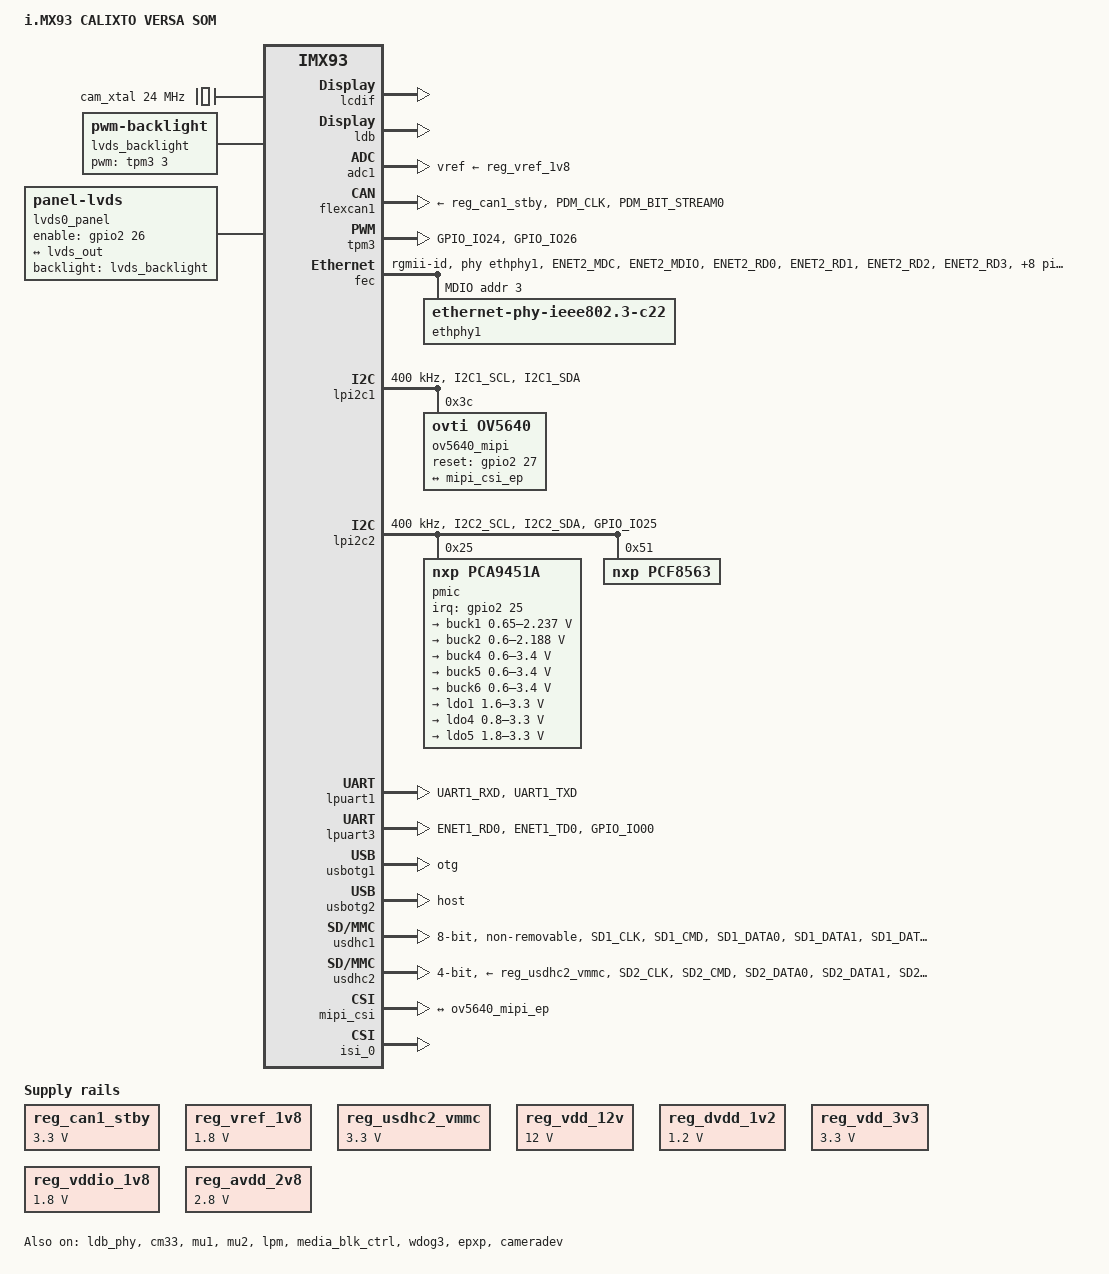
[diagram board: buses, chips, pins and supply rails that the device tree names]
// SPDX-License-Identifier: (GPL-2.0+ OR MIT)
/*
 * Copyright 2025 Calixto Systems
 */

/dts-v1/;

#include <dt-bindings/usb/pd.h>
#include "imx93.dtsi"

&ele_fw2 {
	memory-region = <&ele_reserved>;
};

/ {
	model = "i.MX93 CALIXTO VERSA SOM";
	compatible = "calixto,imx93-calixto-versa_1GB_NPU", "fsl,imx93";

	chosen {
		stdout-path = &lpuart1;
	};

	reserved-memory {
		#address-cells = <2>;
		#size-cells = <2>;
		ranges;

		linux,cma {
			compatible = "shared-dma-pool";
			reusable;
			alloc-ranges = <0 0x80000000 0 0x20000000>;
			size = <0 0x08000000>;
			linux,cma-default;
		};

		ethosu_mem: ethosu_region@A0000000 {
			compatible = "shared-dma-pool";
			reusable;
			reg = <0x0 0xA0000000 0x0 0x08000000>;
		};
  
		vdev0vring0: vdev0vring0@92000000 {
			reg = <0 0x92000000 0 0x4000>;
			no-map;
		};

		vdev0vring1: vdev0vring1@92004000 {
			reg = <0 0x92004000 0 0x4000>;
			no-map;
		};

		vdev1vring0: vdev1vring0@92008000 {
			reg = <0 0x92008000 0 0x4000>;
			no-map;
		};

		vdev1vring1: vdev1vring1@9200C000 {
			reg = <0 0x9200C000 0 0x4000>;
			no-map;
		};

		rsc_table: rsc-table@2021e000 {
			reg = <0 0x2021e000 0 0x1000>;
			no-map;
		};

		vdevbuffer: vdevbuffer@92010000 {
			compatible = "shared-dma-pool";
			reg = <0 0x92010000 0 0x80000>;
			no-map;
		};

		ele_reserved: ele-reserved@92090000 {
			compatible = "shared-dma-pool";
			reg = <0 0x92090000  0 0x80000>;
			no-map;
		};
	};

	ethosu {
		compatible = "arm,ethosu";
		fsl,cm33-proc = <&cm33>;
		memory-region = <&ethosu_mem>;
		power-domains = <&mlmix>;
	};

	reg_can1_stby: regulator-can1-stby {
		compatible = "regulator-fixed";
		regulator-name = "can1-stby";
		regulator-min-microvolt = <3300000>;
		regulator-max-microvolt = <3300000>;
	};

	reg_vref_1v8: regulator-adc-vref {
		compatible = "regulator-fixed";
		regulator-name = "vref_1v8";
		regulator-min-microvolt = <1800000>;
		regulator-max-microvolt = <1800000>;
	};

	reg_usdhc2_vmmc: regulator-usdhc2 {
		compatible = "regulator-fixed";
		regulator-name = "VSD_3V3";
		regulator-min-microvolt = <3300000>;
		regulator-max-microvolt = <3300000>;
	};

	reg_vdd_12v: regulator-vdd-12v {
		compatible = "regulator-fixed";
		regulator-name = "reg_vdd_12v";
		regulator-min-microvolt = <12000000>;
		regulator-max-microvolt = <12000000>;
		regulator-always-on;
	};

	reg_dvdd_1v2: regulator-dvdd {
		compatible = "regulator-fixed";
		regulator-name = "DVDD_1V2";
		regulator-min-microvolt = <1200000>;
		regulator-max-microvolt = <1200000>;
		regulator-always-on;

	};

	reg_vdd_3v3: regulator-vdd {
		compatible = "regulator-fixed";
		regulator-name = "VDD_3V3";
		regulator-min-microvolt = <3300000>;
		regulator-max-microvolt = <3300000>;
		regulator-always-on;
	};

	reg_vddio_1v8: regulator-vddo {
		compatible = "regulator-fixed";
		regulator-name = "VDDIO_1V8";
		regulator-min-microvolt = <1800000>;
		regulator-max-microvolt = <1800000>;
		regulator-always-on;
	};

	reg_avdd_2v8: regulator-avdd {
		compatible = "regulator-fixed";
		regulator-name = "AVDD_2V8";
		regulator-min-microvolt = <2800000>;
		regulator-max-microvolt = <2800000>;
		regulator-always-on;
	};
	
	/* It's a 25MHz crystal oscillator on OV5640 camera board */
	cam_xtal: cam-xtal {
		compatible = "fixed-clock";
		#clock-cells = <0>;
		clock-frequency = <24000000>;
		clock-output-names = "cam_xtal";
	};
	
	
	lvds_backlight: lvds_backlight {
		compatible = "pwm-backlight";
		pwms = <&tpm3 3 50000 0>;
		brightness-levels = <0 0 1 2 3 4 5 6 7 8 9 10 11 12 13 14 15 16 17 18 19 20 21 22 23 24 25 26 27 28 29 30 31 32 33 34 35
					36 37 38 39 40 41 42 43 44 45 46 47 48 49 50 51 52 53 54 55 56 57 58 59 60 61 62 63 64 65 66 67
					68 69 70 71 72 73 74 75 76 77 78 79 80 81 82 83 84 85 86 87 88 89 90 91 92 93 94 95 96 97 98>;
		default-brightness-level = <98>;
		status = "okay";
	};

	lvds0_panel {
		status = "okay";
		backlight = <&lvds_backlight>;
		compatible = "panel-lvds"; 
		data-mapping = "vesa-24";
		enable-gpios = <&gpio2 26 GPIO_ACTIVE_HIGH>;
		width-mm = <124>;
		height-mm = <80>;

		panel-timing {
			clock-frequency = <25000000>;
			hactive = <800>;
			vactive = <480>;
			hfront-porch = <8>;
			hback-porch = <8>;
			hsync-len = <4>;
			vback-porch = <8>;
			vfront-porch = <8>;
			vsync-len = <4>;
			hsync-active = <0>;
			vsync-active = <0>;
			de-active = <1>;
                	pixelclk-active = <0>;
		};

		port {
			panel_lvds_in: endpoint {
				remote-endpoint = <&lvds_out>;
			};
		};
	};	
}; 


&dphy {
	status = "disabled";
};

&dsi {
	status = "disabled";
};

&lcdif {
	assigned-clock-rates = <498000000>, <71142857>, <400000000>, <133333333>;
	status = "okay";
};

&ldb {
	status = "okay";

	lvds-channel@0 {
		#address-cells = <1>;
		#size-cells = <0>;
		fsl,data-mapping = "spwg";
		fsl,data-width = <24>;
		status = "okay";

		port@1 {
			reg = <1>;

			lvds_out: endpoint {
				remote-endpoint = <&panel_lvds_in>;
			};
		};
	};
};

&ldb_phy {
	status = "okay";
};
	
&adc1 {
	vref-supply = <&reg_vref_1v8>;
	status = "okay";
};

&cm33 {
	mbox-names = "tx", "rx", "rxdb";
	mboxes = <&mu1 0 1>,
		 <&mu1 1 1>,
		 <&mu1 3 1>;
	memory-region = <&vdevbuffer>, <&vdev0vring0>, <&vdev0vring1>,
			<&vdev1vring0>, <&vdev1vring1>, <&rsc_table>;
	fsl,startup-delay-ms = <500>;
	status = "okay";
};

&flexcan1 {
	pinctrl-names = "default", "sleep";
	pinctrl-0 = <&pinctrl_flexcan1>;
	pinctrl-1 = <&pinctrl_flexcan1_sleep>;
	xceiver-supply = <&reg_can1_stby>;
	status = "okay";
};

&mu1 {
	status = "okay";
};

&mu2 {
	status = "okay";
};

&eqos {
     status = "disabled";
};

&tpm3 {
      pinctrl-names = "default";
      pinctrl-0 = <&pinctrl_tpm3>;
      status = "okay";

};

&fec {
	pinctrl-names = "default", "sleep";
	pinctrl-0 = <&pinctrl_fec>;
	pinctrl-1 = <&pinctrl_fec_sleep>;
	phy-mode = "rgmii-id";
	phy-handle = <&ethphy1>;
	fsl,magic-packet;
	no-reset-control;
	status = "okay";

	mdio {
		#address-cells = <1>;
		#size-cells = <0>;
		clock-frequency = <5000000>;

		ethphy1: ethernet-phy@3 {
		        compatible = "ethernet-phy-ieee802.3-c22";
			reg = <3>;
		};
	};
};

/*&lcdif {
	status = "okay";
	assigned-clock-rates = <445333333>, <148444444>, <400000000>, <133333333>; 	
};*/

&lpm {
	soc-supply = <&buck1>;
	status = "okay";
};

/*
 * When add, delete or change any target device setting in &lpi2c1,
 * please synchronize the changes to the &i3c1 bus in imx93-11x11-evk-i3c.dts.
 */
&lpi2c1 {
	#address-cells = <1>;
	#size-cells = <0>;
	clock-frequency = <400000>;
	pinctrl-names = "default", "sleep";
	pinctrl-0 = <&pinctrl_lpi2c1>;
	pinctrl-1 = <&pinctrl_lpi2c1>;
	status = "okay";
	
	ov5640_mipi: ov5640_mipi@3c {
		compatible = "ovti,ov5640";
		reg = <0x3c>;
		clocks = <&cam_xtal>;
		clock-names = "xclk";
		//powerdown-gpios = <&ioexpander1 6 GPIO_ACTIVE_LOW>;
		reset-gpios = <&gpio2 27 GPIO_ACTIVE_HIGH>;
		status = "okay";

		port {
			ov5640_mipi_ep: endpoint {
				remote-endpoint = <&mipi_csi_ep>;
				data-lanes = <2>;
			};
		};
	};

};

&lpi2c2 {
	#address-cells = <1>;
	#size-cells = <0>;
	clock-frequency = <400000>;
	pinctrl-names = "default", "sleep";
	pinctrl-0 = <&pinctrl_lpi2c2>;
	pinctrl-1 = <&pinctrl_lpi2c2>;
	status = "okay";

	pmic@25 {
		compatible = "nxp,pca9451a";
		reg = <0x25>;
		interrupt-parent = <&gpio2>;
		interrupts = <25 IRQ_TYPE_EDGE_FALLING>;

		regulators {
			buck1: BUCK1 {
				regulator-name = "BUCK1";
				regulator-min-microvolt = <650000>;
				regulator-max-microvolt = <2237500>;
				regulator-boot-on;
				regulator-always-on;
				regulator-ramp-delay = <3125>;
			};

			buck2: BUCK2 {
				regulator-name = "BUCK2";
				regulator-min-microvolt = <600000>;
				regulator-max-microvolt = <2187500>;
				regulator-boot-on;
				regulator-always-on;
				regulator-ramp-delay = <3125>;
			};

			buck4: BUCK4{
				regulator-name = "BUCK4";
				regulator-min-microvolt = <600000>;
				regulator-max-microvolt = <3400000>;
				regulator-boot-on;
				regulator-always-on;
			};

			buck5: BUCK5{
				regulator-name = "BUCK5";
				regulator-min-microvolt = <600000>;
				regulator-max-microvolt = <3400000>;
				regulator-boot-on;
				regulator-always-on;
			};

			buck6: BUCK6 {
				regulator-name = "BUCK6";
				regulator-min-microvolt = <600000>;
				regulator-max-microvolt = <3400000>;
				regulator-boot-on;
				regulator-always-on;
			};

			ldo1: LDO1 {
				regulator-name = "LDO1";
				regulator-min-microvolt = <1600000>;
				regulator-max-microvolt = <3300000>;
				regulator-boot-on;
				regulator-always-on;
			};

			ldo4: LDO4 {
				regulator-name = "LDO4";
				regulator-min-microvolt = <800000>;
				regulator-max-microvolt = <3300000>;
				regulator-boot-on;
				regulator-always-on;
			};

			ldo5: LDO5 {
				regulator-name = "LDO5";
				regulator-min-microvolt = <1800000>;
				regulator-max-microvolt = <3300000>;
				regulator-boot-on;
				regulator-always-on;
			};
		};
	};

	pcf8563@51 {
		compatible = "nxp,pcf8563";
		reg = <0x51>;
	};
};

&lpuart1 { /* console */
	pinctrl-names = "default";
	pinctrl-0 = <&pinctrl_uart1>;
	status = "okay";
};

&lpuart3 { /* RS485 */
	pinctrl-names = "default";
	pinctrl-0 = <&pinctrl_uart3>;
	status = "okay";
};

&media_blk_ctrl {
	status = "okay";
};

&usbotg1 {
	dr_mode = "otg";
	disable-over-current;
	status = "okay";
};

&usbotg2 {
	dr_mode = "host";
        disable-over-current;
	status = "okay";
};

&usdhc1 {
	pinctrl-names = "default", "state_100mhz", "state_200mhz";
	pinctrl-0 = <&pinctrl_usdhc1>;
	pinctrl-1 = <&pinctrl_usdhc1_100mhz>;
	pinctrl-2 = <&pinctrl_usdhc1_200mhz>;
	bus-width = <8>;
	non-removable;
	status = "okay";
};

&usdhc2 {
	pinctrl-names = "default";
	pinctrl-0 = <&pinctrl_usdhc2>;
	cd-gpios = <&gpio3 00 GPIO_ACTIVE_LOW>;
	fsl,cd-gpio-wakeup-disable;
	vmmc-supply = <&reg_usdhc2_vmmc>;
	bus-width = <4>;
	status = "okay";
	no-mmc;
	no-1-8-v;
};

&wdog3 {
	status = "okay";
};

&mipi_csi {
	status = "okay";

	port {
		mipi_csi_ep: endpoint {
			remote-endpoint = <&ov5640_mipi_ep>;
			data-lanes = <2>;
			cfg-clk-range = <28>;
			hs-clk-range = <0x16>;
			bus-type = <4>;
		};
	};
};

&iomuxc {

        
	pinctrl_tpm3: tpm3grp {
		fsl,pins = <
		        MX93_PAD_GPIO_IO24__TPM3_CH3                    0x19e
		        MX93_PAD_GPIO_IO26__GPIO2_IO26                  0x19e
		>;
	};
	

	pinctrl_fec: fecgrp {
		fsl,pins = <
			MX93_PAD_ENET2_MDC__ENET1_MDC			0x57e
			MX93_PAD_ENET2_MDIO__ENET1_MDIO			0x57e
			MX93_PAD_ENET2_RD0__ENET1_RGMII_RD0		0x57e
			MX93_PAD_ENET2_RD1__ENET1_RGMII_RD1		0x57e
			MX93_PAD_ENET2_RD2__ENET1_RGMII_RD2		0x57e
			MX93_PAD_ENET2_RD3__ENET1_RGMII_RD3		0x57e
			MX93_PAD_ENET2_RXC__ENET1_RGMII_RXC		0x58e
			MX93_PAD_ENET2_RX_CTL__ENET1_RGMII_RX_CTL	0x57e
			MX93_PAD_ENET2_TD0__ENET1_RGMII_TD0		0x57e
			MX93_PAD_ENET2_TD1__ENET1_RGMII_TD1		0x57e
			MX93_PAD_ENET2_TD2__ENET1_RGMII_TD2		0x57e
			MX93_PAD_ENET2_TD3__ENET1_RGMII_TD3		0x57e
			MX93_PAD_ENET2_TXC__ENET1_RGMII_TXC		0x58e
			MX93_PAD_ENET2_TX_CTL__ENET1_RGMII_TX_CTL	0x57e
		>;
	};

	pinctrl_fec_sleep: fecsleepgrp {
		fsl,pins = <
			MX93_PAD_ENET2_MDC__GPIO4_IO14			0x51e
			MX93_PAD_ENET2_MDIO__GPIO4_IO15			0x51e
			MX93_PAD_ENET2_RD0__GPIO4_IO24			0x51e
			MX93_PAD_ENET2_RD1__GPIO4_IO25			0x51e
			MX93_PAD_ENET2_RD2__GPIO4_IO26			0x51e
			MX93_PAD_ENET2_RD3__GPIO4_IO27			0x51e
			MX93_PAD_ENET2_RXC__GPIO4_IO23                  0x51e
			MX93_PAD_ENET2_RX_CTL__GPIO4_IO22		0x51e
			MX93_PAD_ENET2_TD0__GPIO4_IO19			0x51e
			MX93_PAD_ENET2_TD1__GPIO4_IO18			0x51e
			MX93_PAD_ENET2_TD2__GPIO4_IO17			0x51e
			MX93_PAD_ENET2_TD3__GPIO4_IO16			0x51e
			MX93_PAD_ENET2_TXC__GPIO4_IO21                  0x51e
			MX93_PAD_ENET2_TX_CTL__GPIO4_IO20               0x51e
		>;
	};

	pinctrl_flexcan1: flexcan1grp {
		fsl,pins = <
			MX93_PAD_PDM_CLK__CAN1_TX	        0x31e
			MX93_PAD_PDM_BIT_STREAM0__CAN1_RX	0x31e
		>;
	};
	pinctrl_flexcan1_sleep: flexcan1sleepgrp {
		fsl,pins = <
			MX93_PAD_PDM_CLK__GPIO1_IO08            0x31e
			MX93_PAD_PDM_BIT_STREAM0__GPIO1_IO09	0x31e
		>;
	};

	pinctrl_lpi2c1: lpi2c1grp {
		fsl,pins = <
			MX93_PAD_I2C1_SCL__LPI2C1_SCL			0x40000b9e
			MX93_PAD_I2C1_SDA__LPI2C1_SDA			0x40000b9e
		>;
	};

	pinctrl_lpi2c2: lpi2c2grp {
		fsl,pins = <
			MX93_PAD_I2C2_SCL__LPI2C2_SCL			0x40000b9e
			MX93_PAD_I2C2_SDA__LPI2C2_SDA			0x40000b9e
			MX93_PAD_GPIO_IO25__GPIO2_IO25                  0x31e
		>;
	};


	pinctrl_uart1: uart1grp {
		fsl,pins = <
			MX93_PAD_UART1_RXD__LPUART1_RX			0x31e
			MX93_PAD_UART1_TXD__LPUART1_TX			0x31e
		>;
	};
	
	pinctrl_uart3: uart3grp {
		fsl,pins = <
                        MX93_PAD_ENET1_RD0__LPUART3_RX        0x31e
			MX93_PAD_ENET1_TD0__LPUART3_TX        0x31e
			MX93_PAD_GPIO_IO00__GPIO2_IO00        0x31e
		>;
	};

	/* need to config the SION for data and cmd pad, refer to ERR052021 */
	pinctrl_usdhc1: usdhc1grp {
		fsl,pins = <
			MX93_PAD_SD1_CLK__USDHC1_CLK		0x1582
			MX93_PAD_SD1_CMD__USDHC1_CMD		0x40001382
			MX93_PAD_SD1_DATA0__USDHC1_DATA0	0x40001382
			MX93_PAD_SD1_DATA1__USDHC1_DATA1	0x40001382
			MX93_PAD_SD1_DATA2__USDHC1_DATA2	0x40001382
			MX93_PAD_SD1_DATA3__USDHC1_DATA3	0x40001382
			MX93_PAD_SD1_DATA4__USDHC1_DATA4	0x40001382
			MX93_PAD_SD1_DATA5__USDHC1_DATA5	0x40001382
			MX93_PAD_SD1_DATA6__USDHC1_DATA6	0x40001382
			MX93_PAD_SD1_DATA7__USDHC1_DATA7	0x40001382
			MX93_PAD_SD1_STROBE__USDHC1_STROBE	0x1582
		>;
	};

	/* need to config the SION for data and cmd pad, refer to ERR052021 */
	pinctrl_usdhc1_100mhz: usdhc1-100mhzgrp {
		fsl,pins = <
			MX93_PAD_SD1_CLK__USDHC1_CLK		0x158e
			MX93_PAD_SD1_CMD__USDHC1_CMD		0x4000138e
			MX93_PAD_SD1_DATA0__USDHC1_DATA0	0x4000138e
			MX93_PAD_SD1_DATA1__USDHC1_DATA1	0x4000138e
			MX93_PAD_SD1_DATA2__USDHC1_DATA2	0x4000138e
			MX93_PAD_SD1_DATA3__USDHC1_DATA3	0x4000138e
			MX93_PAD_SD1_DATA4__USDHC1_DATA4	0x4000138e
			MX93_PAD_SD1_DATA5__USDHC1_DATA5	0x4000138e
			MX93_PAD_SD1_DATA6__USDHC1_DATA6	0x4000138e
			MX93_PAD_SD1_DATA7__USDHC1_DATA7	0x4000138e
			MX93_PAD_SD1_STROBE__USDHC1_STROBE	0x158e
		>;
	};

	/* need to config the SION for data and cmd pad, refer to ERR052021 */
	pinctrl_usdhc1_200mhz: usdhc1-200mhzgrp {
		fsl,pins = <
			MX93_PAD_SD1_CLK__USDHC1_CLK		0x15fe
			MX93_PAD_SD1_CMD__USDHC1_CMD		0x400013fe
			MX93_PAD_SD1_DATA0__USDHC1_DATA0	0x400013fe
			MX93_PAD_SD1_DATA1__USDHC1_DATA1	0x400013fe
			MX93_PAD_SD1_DATA2__USDHC1_DATA2	0x400013fe
			MX93_PAD_SD1_DATA3__USDHC1_DATA3	0x400013fe
			MX93_PAD_SD1_DATA4__USDHC1_DATA4	0x400013fe
			MX93_PAD_SD1_DATA5__USDHC1_DATA5	0x400013fe
			MX93_PAD_SD1_DATA6__USDHC1_DATA6	0x400013fe
			MX93_PAD_SD1_DATA7__USDHC1_DATA7	0x400013fe
			MX93_PAD_SD1_STROBE__USDHC1_STROBE	0x15fe
		>;
	};

	/* need to config the SION for data and cmd pad, refer to ERR052021 */
	pinctrl_usdhc2: usdhc2grp {
		fsl,pins = <
			MX93_PAD_SD2_CLK__USDHC2_CLK		0x1582
			MX93_PAD_SD2_CMD__USDHC2_CMD		0x40001382
			MX93_PAD_SD2_DATA0__USDHC2_DATA0	0x40001382
			MX93_PAD_SD2_DATA1__USDHC2_DATA1	0x40001382
			MX93_PAD_SD2_DATA2__USDHC2_DATA2	0x40001382
			MX93_PAD_SD2_DATA3__USDHC2_DATA3	0x40001382
		>;
	};

};

&epxp {
	status = "okay";
};

&cameradev {
	status = "okay";
};

&isi_0 {
	status = "okay";

	cap_device {
		status = "okay";
	};
};

